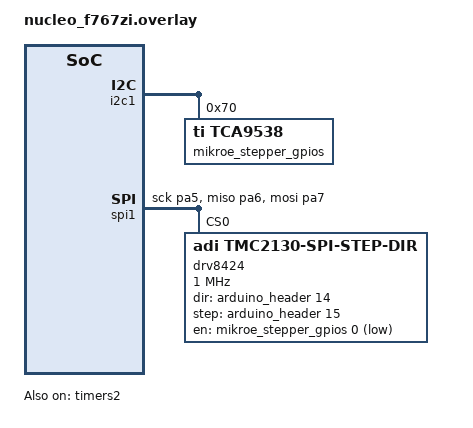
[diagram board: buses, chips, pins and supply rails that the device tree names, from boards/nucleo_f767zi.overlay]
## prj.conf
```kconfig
# Copyright (c) 2024 Navimatix GmbH
# SPDX-License-Identifier: Apache-2.0

CONFIG_ZTEST=y
CONFIG_TEST=y
CONFIG_TEST_USERSPACE=y
CONFIG_LOG=y
CONFIG_STEPPER_LOG_LEVEL_DBG=y
CONFIG_STEPPER=y
CONFIG_POLL=y
CONFIG_I2C=y
CONFIG_GPIO=y
CONFIG_COUNTER=y
CONFIG_STEPPER_STEP_DIR_GENERATE_ISR_SAFE_EVENTS=y
```

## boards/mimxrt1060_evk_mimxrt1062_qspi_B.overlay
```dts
/*
 * Copyright (c) 2024 Navimatix GmbH
 * SPDX-License-Identifier: Apache-2.0
 */

#include <zephyr/dt-bindings/gpio/gpio.h>

&lpi2c1 {
	status = "okay";

	mikroe_stepper_gpios: mikroe_stepper_ctrl_tca9538a@70 {
		status = "okay";
		compatible = "ti,tca9538";

		reg = <0x70>;

		gpio-controller;
		ngpios = <8>;
		#gpio-cells = <2>;

		gpio-reserved-ranges = <7 1>;

		gpio-line-names =
			"M0",
			"M1",
			"DEC0",
			"DEC1",
			"TOFF",
			"STP",
			"DIR";
	};
};

/ {
	drv8424: drv8424 {
		status = "okay";
		compatible = "ti,drv8424";

		dir-gpios = <&arduino_header 9 0>; /* D3 */
		step-gpios = <&arduino_header 10 0>; /* D4 */
		sleep-gpios = <&arduino_header 8 GPIO_ACTIVE_LOW>; /* D2 */
		en-gpios  = <&arduino_header 11 0>; /* D5 */
		m0-gpios = <&mikroe_stepper_gpios 0 0>;
		m1-gpios = <&mikroe_stepper_gpios 1 0>;

		timing-source = "counter";

		counter = <&pit0_channel0>;
	};
};

&pit0_channel0 {
	status = "okay";
};
```

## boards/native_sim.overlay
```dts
/*
 * Copyright (c) 2024 Navimatix GmbH
 * SPDX-License-Identifier: Apache-2.0
 */

#include <zephyr/dt-bindings/gpio/gpio.h>

/ {
	drv8424: drv8424 {
		status = "okay";
		compatible = "ti,drv8424";


		dir-gpios = <&gpio1 0 0>; /* D3 */
		step-gpios = <&gpio1 1 0>; /* D4 */
		sleep-gpios = <&gpio2 0 GPIO_ACTIVE_LOW>; /* D2 */
		en-gpios = <&gpio2 1 0>; /* 5 */
		m0-gpios = <&gpio3 0 0>;
		m1-gpios = <&gpio3 1 0>;

		timing-source = "counter";

		counter = <&counter0>;
	};

	gpio1: gpio1 {
		compatible = "zephyr,gpio-emul";
		#gpio-cells = <0x2>;
		status = "okay";
		gpio-controller;
	};

	gpio2: gpio2 {
		compatible = "zephyr,gpio-emul";
		#gpio-cells = <0x2>;
		status = "okay";
		gpio-controller;
	};

	gpio3: gpio3 {
		compatible = "zephyr,gpio-emul";
		#gpio-cells = <0x2>;
		status = "okay";
		gpio-controller;
	};
};
```

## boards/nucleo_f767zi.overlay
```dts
/*
 * Copyright (c) 2024 Navimatix GmbH
 * SPDX-License-Identifier: Apache-2.0
 */

#include <zephyr/dt-bindings/gpio/gpio.h>

&i2c1 {
	status = "okay";

	mikroe_stepper_gpios: mikroe_stepper_ctrl_tca9538a@70 {
		status = "okay";
		compatible = "ti,tca9538";

		reg = <0x70>;

		gpio-controller;
		ngpios = <8>;
		#gpio-cells = <2>;

		gpio-reserved-ranges = <7 1>;

		gpio-line-names =
			"M0",
			"M1",
			"DEC0",
			"DEC1",
			"TOFF",
			"STP",
			"DIR";
	};
};

// / {
// 	drv8424: drv8424 {
// 		status = "okay";
// 		compatible = "ti,drv8424";

// 		dir-gpios = <&arduino_header 18 0>; /* D12 */
// 		step-gpios = <&arduino_header 19 0>; /* D13 */
// 		sleep-gpios = <&arduino_header 15 GPIO_ACTIVE_LOW>; /* D9 */
// 		en-gpios  = <&arduino_header 14 0>; /* D8 */
// 		m0-gpios = <&mikroe_stepper_gpios 0 0>;
// 		m1-gpios = <&mikroe_stepper_gpios 1 0>;

// 		timing-source = "work";

// 		counter = <&counter2>;
// 	};
// };

&spi1 {
	pinctrl-0 = <&spi1_sck_pa5 &spi1_miso_pa6 &spi1_mosi_pa7>;
	pinctrl-names = "default";
	status = "okay";
	drv8424: tmc2130@0 {
		compatible = "adi,tmc2130-spi-step-dir";
		reg = <0>;
		spi-max-frequency = <DT_FREQ_M(1)>; /* Maximum SPI bus frequency */

		dir-gpios = <&arduino_header 14 0>; /* D8 */
		step-gpios = <&arduino_header 15 0>; /* D9 */
		en-gpios  = <&mikroe_stepper_gpios 0 GPIO_ACTIVE_LOW>; /* D8 */
		counter = <&counter2>;
		timing-source = "counter";
		// acceleration = <50>;
	};
};

&timers2 {
	status = "okay";
	counter2: counter {
		status = "okay";
	};
};
```

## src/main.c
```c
/*
 * Copyright 2024 Navimatix GmbH
 *
 * SPDX-License-Identifier: Apache-2.0
 */

#include <zephyr/drivers/gpio.h>
#include <zephyr/kernel.h>
#include <zephyr/ztest_assert.h>
#include <stdbool.h>
#include <stdint.h>
#include <zephyr/ztest.h>
#include <zephyr/drivers/stepper.h>

#define TEST_INTERVAL      NSEC_PER_SEC / 50
#define BASE_MS_RESOLUTION 1
#define TEST_MS_RESOLUTION 4
#define FAIL_MS_RESOLUTION 3

struct drv8424_api_fixture {
	const struct device *dev;
	stepper_event_callback_t callback;
};

struct k_poll_signal stepper_signal;
struct k_poll_event stepper_event;

static void drv8424_api_print_event_callback(const struct device *dev, enum stepper_event event,
					     void *dummy)
{
	switch (event) {
	case STEPPER_EVENT_STEPS_COMPLETED:
		k_poll_signal_raise(&stepper_signal, STEPPER_EVENT_STEPS_COMPLETED);
		break;
	case STEPPER_EVENT_LEFT_END_STOP_DETECTED:
		k_poll_signal_raise(&stepper_signal, STEPPER_EVENT_LEFT_END_STOP_DETECTED);
		break;
	case STEPPER_EVENT_RIGHT_END_STOP_DETECTED:
		k_poll_signal_raise(&stepper_signal, STEPPER_EVENT_RIGHT_END_STOP_DETECTED);
		break;
	case STEPPER_EVENT_STALL_DETECTED:
		k_poll_signal_raise(&stepper_signal, STEPPER_EVENT_STALL_DETECTED);
		break;
	default:
		break;
	}
}

static void *drv8424_api_setup(void)
{
	static struct drv8424_api_fixture fixture = {
		.dev = DEVICE_DT_GET(DT_NODELABEL(drv8424)),
		.callback = drv8424_api_print_event_callback,
	};

	k_poll_signal_init(&stepper_signal);
	k_poll_event_init(&stepper_event, K_POLL_TYPE_SIGNAL, K_POLL_MODE_NOTIFY_ONLY,
			  &stepper_signal);

	zassert_not_null(fixture.dev);
	return &fixture;
}

static void drv8424_api_before(void *f)
{
	struct drv8424_api_fixture *fixture = f;
	(void)stepper_set_reference_position(fixture->dev, 0);
	(void)stepper_set_micro_step_res(fixture->dev, BASE_MS_RESOLUTION);
	k_poll_signal_reset(&stepper_signal);
}

static void drv8424_api_after(void *f)
{
	struct drv8424_api_fixture *fixture = f;
	(void)stepper_enable(fixture->dev, false);
}

ZTEST_F(drv8424_api, test_micro_step_res_set)
{
	(void)stepper_set_micro_step_res(fixture->dev, TEST_MS_RESOLUTION);
	enum stepper_micro_step_resolution res;
	(void)stepper_get_micro_step_res(fixture->dev, &res);
	zassert_equal(res, TEST_MS_RESOLUTION,
		      "Micro step resolution not set correctly, should be %d but is %d",
		      TEST_MS_RESOLUTION, res);
}

ZTEST_F(drv8424_api, test_micro_step_res_set_incorrect_value_detection)
{
	int ret = 0;

	ret = stepper_set_micro_step_res(fixture->dev, FAIL_MS_RESOLUTION);
	zassert_equal(ret, -EINVAL, "Command should fail with error %d but returned %d", -EINVAL,
		      ret);
}

ZTEST_F(drv8424_api, test_actual_position_set)
{
	int32_t pos = 100u;
	(void)stepper_set_reference_position(fixture->dev, pos);
	(void)stepper_get_actual_position(fixture->dev, &pos);
	zassert_equal(pos, 100u, "Actual position should be %u but is %u", 100u, pos);
}

ZTEST_F(drv8424_api, test_is_not_moving_when_disabled)
{
	int32_t steps = 100;
	bool moving = true;

	(void)stepper_enable(fixture->dev, true);
	(void)stepper_set_microstep_interval(fixture->dev, 20000000);
	(void)stepper_move_by(fixture->dev, steps);
	(void)stepper_enable(fixture->dev, false);
	(void)stepper_is_moving(fixture->dev, &moving);
	zassert_false(moving, "Driver should not be in state is_moving after being disabled");
}

ZTEST_F(drv8424_api, test_position_not_updating_when_disabled)
{
	int32_t steps = 1000;
	int32_t position_1 = 0;
	int32_t position_2 = 0;

	(void)stepper_enable(fixture->dev, true);
	(void)stepper_set_microstep_interval(fixture->dev, 20000000);
	(void)stepper_move_by(fixture->dev, steps);
	(void)stepper_enable(fixture->dev, false);
	(void)stepper_get_actual_position(fixture->dev, &position_1);
	k_msleep(100);
	(void)stepper_get_actual_position(fixture->dev, &position_2);
	zassert_equal(position_2, position_1,
		      "Actual position should not have changed from %d but is %d", position_1,
		      position_2);
}

ZTEST_F(drv8424_api, test_is_not_moving_when_reenabled_after_movement)
{
	int32_t steps = 1000;
	bool moving = true;

	(void)stepper_enable(fixture->dev, true);
	(void)stepper_set_microstep_interval(fixture->dev, 20000000);
	(void)stepper_move_by(fixture->dev, steps);
	(void)stepper_enable(fixture->dev, false);
	(void)k_msleep(100);
	(void)stepper_enable(fixture->dev, true);
	(void)k_msleep(100);
	(void)stepper_is_moving(fixture->dev, &moving);
	zassert_false(moving, "Driver should not be in state is_moving after being reenabled");
}
ZTEST_F(drv8424_api, test_position_not_updating_when_reenabled_after_movement)
{
	int32_t steps = 1000;
	int32_t position_1 = 0;
	int32_t position_2 = 0;

	(void)stepper_enable(fixture->dev, true);
	(void)stepper_set_microstep_interval(fixture->dev, 20000000);
	(void)stepper_move_by(fixture->dev, steps);
	(void)stepper_enable(fixture->dev, false);
	(void)stepper_get_actual_position(fixture->dev, &position_1);
	(void)k_msleep(100);
	(void)stepper_enable(fixture->dev, true);
	(void)k_msleep(100);
	(void)stepper_get_actual_position(fixture->dev, &position_2);
	zassert_equal(position_2, position_1,
		      "Actual position should not have changed from %d but is %d", position_1,
		      position_2);
}

ZTEST_F(drv8424_api, test_move_to_positive_direction_movement)
{
	int32_t pos = 50;

	(void)stepper_enable(fixture->dev, true);
	(void)stepper_set_microstep_interval(fixture->dev, 20000000);
	(void)stepper_set_event_callback(fixture->dev, fixture->callback, NULL);
	(void)stepper_move_to(fixture->dev, pos);
	(void)k_poll(&stepper_event, 1, K_SECONDS(5));
	unsigned int signaled;
	int result;

	k_poll_signal_check(&stepper_signal, &signaled, &result);
	zassert_equal(signaled, 1, "No event detected");
	zassert_equal(result, STEPPER_EVENT_STEPS_COMPLETED,
		      "Event was not STEPPER_EVENT_STEPS_COMPLETED event");
	(void)stepper_get_actual_position(fixture->dev, &pos);
	zassert_equal(pos, 50u, "Target position should be %d but is %d", 50u, pos);
}

ZTEST_F(drv8424_api, test_move_to_negative_direction_movement)
{
	int32_t pos = -50;

	(void)stepper_enable(fixture->dev, true);
	(void)stepper_set_microstep_interval(fixture->dev, 20000000);
	(void)stepper_set_event_callback(fixture->dev, fixture->callback, NULL);
	(void)stepper_move_to(fixture->dev, pos);
	(void)k_poll(&stepper_event, 1, K_SECONDS(5));
	unsigned int signaled;
	int result;

	k_poll_signal_check(&stepper_signal, &signaled, &result);
	zassert_equal(signaled, 1, "No event detected");
	zassert_equal(result, STEPPER_EVENT_STEPS_COMPLETED,
		      "Event was not STEPPER_EVENT_STEPS_COMPLETED event");
	(void)stepper_get_actual_position(fixture->dev, &pos);
	zassert_equal(pos, -50, "Target position should be %d but is %d", -50, pos);
}

ZTEST_F(drv8424_api, test_move_to_identical_current_and_target_position)
{
	int32_t pos = 0;
	int ret;

	(void)stepper_enable(fixture->dev, true);
	(void)stepper_set_microstep_interval(fixture->dev, 20000000);
	(void)stepper_set_event_callback(fixture->dev, fixture->callback, NULL);
	ret = stepper_move_to(fixture->dev, pos);

	zassert_equal(-EINVAL, ret, "Move_to should fail with error code %d but returned %d",
		      -EINVAL, ret);
	(void)stepper_get_actual_position(fixture->dev, &pos);
	zassert_equal(pos, 0, "Target position should not have changed from %d but is %d", 0, pos);
}

ZTEST_F(drv8424_api, test_move_to_is_moving_true_while_moving)
{
	int32_t pos = 50;
	bool moving = false;

	(void)stepper_enable(fixture->dev, true);
	(void)stepper_set_microstep_interval(fixture->dev, 20000000);
	(void)stepper_set_event_callback(fixture->dev, fixture->callback, NULL);
	(void)stepper_move_to(fixture->dev, pos);
	(void)stepper_is_moving(fixture->dev, &moving);
	zassert_true(moving, "Driver should be in state is_moving while moving");
}

ZTEST_F(drv8424_api, test_move_to_is_moving_false_when_completed)
{
	int32_t pos = 50;
	bool moving = false;

	(void)stepper_enable(fixture->dev, true);
	(void)stepper_set_microstep_interval(fixture->dev, 20000000);
	(void)stepper_set_event_callback(fixture->dev, fixture->callback, NULL);
	(void)stepper_move_to(fixture->dev, pos);
	(void)k_poll(&stepper_event, 1, K_SECONDS(5));
	unsigned int signaled;
	int result;

	k_poll_signal_check(&stepper_signal, &signaled, &result);
	zassert_equal(signaled, 1, "No event detected");
	zassert_equal(result, STEPPER_EVENT_STEPS_COMPLETED,
		      "Event was not STEPPER_EVENT_STEPS_COMPLETED event");
	(void)stepper_is_moving(fixture->dev, &moving);
	zassert_false(moving, "Driver should not be in state is_moving after finishing");
}

ZTEST_F(drv8424_api, test_move_to_no_movement_when_disabled)
{
	int32_t pos = 50;
	int32_t curr_pos = 50;
	int32_t ret = 0;

	(void)stepper_set_microstep_interval(fixture->dev, 20000000);
	(void)stepper_enable(fixture->dev, false);

	ret = stepper_move_to(fixture->dev, pos);
	zassert_equal(ret, -ECANCELED, "Move_to should fail with error code %d but returned %d",
		      -ECANCELED, ret);
	(void)stepper_get_actual_position(fixture->dev, &curr_pos);
	zassert_equal(curr_pos, 0, "Current position should not have changed from %d but is %d", 0,
		      curr_pos);
}

ZTEST_F(drv8424_api, test_move_by_positive_step_count)
{
	int32_t steps = 50;

	(void)stepper_enable(fixture->dev, true);
	(void)stepper_set_microstep_interval(fixture->dev, 20000000);
	(void)stepper_set_event_callback(fixture->dev, fixture->callback, NULL);
	(void)stepper_move_by(fixture->dev, steps);
	(void)k_poll(&stepper_event, 1, K_SECONDS(5));
	unsigned int signaled;
	int result;

	k_poll_signal_check(&stepper_signal, &signaled, &result);
	zassert_equal(signaled, 1, "No event detected");
	zassert_equal(result, STEPPER_EVENT_STEPS_COMPLETED,
		      "Event was not STEPPER_EVENT_STEPS_COMPLETED event");
	(void)stepper_get_actual_position(fixture->dev, &steps);
	zassert_equal(steps, 50u, "Target position should be %d but is %d", 50u, steps);
}

ZTEST_F(drv8424_api, test_move_by_negative_step_count)
{
	int32_t steps = -50;

	(void)stepper_enable(fixture->dev, true);
	(void)stepper_set_microstep_interval(fixture->dev, 20000000);
	(void)stepper_set_event_callback(fixture->dev, fixture->callback, NULL);
	(void)stepper_move_by(fixture->dev, steps);
	(void)k_poll(&stepper_event, 1, K_SECONDS(5));
	unsigned int signaled;
	int result;

	k_poll_signal_check(&stepper_signal, &signaled, &result);
	zassert_equal(signaled, 1, "No event detected");
	zassert_equal(result, STEPPER_EVENT_STEPS_COMPLETED,
		      "Event was not STEPPER_EVENT_STEPS_COMPLETED event");
	(void)stepper_get_actual_position(fixture->dev, &steps);
	zassert_equal(steps, -50, "Target position should be %d but is %d", -50, steps);
}

ZTEST_F(drv8424_api, test_move_by_zero_steps_no_movement)
{
	int32_t steps = 0;
	int ret = 0;

	(void)stepper_enable(fixture->dev, true);
	(void)stepper_set_microstep_interval(fixture->dev, 20000000);
	(void)stepper_set_event_callback(fixture->dev, fixture->callback, NULL);
	ret = stepper_move_by(fixture->dev, steps);
	k_msleep(200);

	zassert_equal(-EINVAL, ret, "Move_to should fail with error code %d but returned %d",
		      -EINVAL, ret);
	(void)stepper_get_actual_position(fixture->dev, &steps);
	zassert_equal(steps, 0, "Target position should be %d but is %d", 0, steps);
}

ZTEST_F(drv8424_api, test_move_by_zero_step_interval)
{
	int32_t steps = 100;
	int32_t ret = 0;
	int32_t pos = 100;

	(void)stepper_enable(fixture->dev, true);
	(void)stepper_enable(fixture->dev, false);
	ret = stepper_move_by(fixture->dev, steps);

	zassert_not_equal(ret, 0, "Command should fail with an error code, but returned 0");
	k_msleep(100);
	(void)stepper_get_actual_position(fixture->dev, &pos);
	zassert_equal(pos, 0, "Target position should not have changed from %d but is %d", 0, pos);
}

ZTEST_F(drv8424_api, test_move_by_is_moving_true_while_moving)
{
	int32_t steps = 50;
	bool moving = false;

	(void)stepper_enable(fixture->dev, true);
	(void)stepper_set_microstep_interval(fixture->dev, 20000000);
	(void)stepper_set_event_callback(fixture->dev, fixture->callback, NULL);
	(void)stepper_move_by(fixture->dev, steps);
	(void)stepper_is_moving(fixture->dev, &moving);
	zassert_true(moving, "Driver should be in state is_moving");
}

ZTEST_F(drv8424_api, test_move_by_is_moving_false_when_completed)
{
	int32_t steps = 50;
	bool moving = true;

	(void)stepper_enable(fixture->dev, true);
	(void)stepper_set_microstep_interval(fixture->dev, 20000000);
	(void)stepper_set_event_callback(fixture->dev, fixture->callback, NULL);
	(void)stepper_move_by(fixture->dev, steps);
	(void)k_poll(&stepper_event, 1, K_SECONDS(5));
	unsigned int signaled;
	int result;

	k_poll_signal_check(&stepper_signal, &signaled, &result);
	zassert_equal(signaled, 1, "No event detected");
	zassert_equal(result, STEPPER_EVENT_STEPS_COMPLETED,
		      "Event was not STEPPER_EVENT_STEPS_COMPLETED event");
	(void)stepper_is_moving(fixture->dev, &moving);
	zassert_false(moving, "Driver should not be in state is_moving after completion");
}

ZTEST_F(drv8424_api, test_move_by_no_movement_when_disabled)
{
	int32_t steps = 100;
	int32_t curr_pos = 100;
	int32_t ret = 0;

	(void)stepper_set_microstep_interval(fixture->dev, 20000000);
	(void)stepper_enable(fixture->dev, false);

	ret = stepper_move_by(fixture->dev, steps);
	zassert_equal(ret, -ECANCELED, "Move_by should fail with error code %d but returned %d",
		      -ECANCELED, ret);
	(void)stepper_get_actual_position(fixture->dev, &curr_pos);
	zassert_equal(curr_pos, 0, "Current position should not have changed from %d but is %d", 0,
		      curr_pos);
}

ZTEST_F(drv8424_api, test_run_positive_direction_correct_position)
{
	uint64_t step_interval = 20000000;
	int32_t steps = 0;

	(void)stepper_enable(fixture->dev, true);
	(void)stepper_set_microstep_interval(fixture->dev, step_interval);
	(void)stepper_run(fixture->dev, STEPPER_DIRECTION_POSITIVE);
	k_msleep(110);

	(void)stepper_get_actual_position(fixture->dev, &steps);
	zassert_true(IN_RANGE(steps, 4, 6), "Current position should be between 4 and 6 but is %d",
		     steps);
}

ZTEST_F(drv8424_api, test_run_negative_direction_correct_position)
{
	uint64_t step_interval = 20000000;
	int32_t steps = 0;

	(void)stepper_enable(fixture->dev, true);
	(void)stepper_set_microstep_interval(fixture->dev, step_interval);
	(void)stepper_run(fixture->dev, STEPPER_DIRECTION_NEGATIVE);
	k_msleep(110);

	(void)stepper_get_actual_position(fixture->dev, &steps);
	zassert_true(IN_RANGE(steps, -6, -4),
		     "Current position should be between -6 and -4 but is %d", steps);
}

ZTEST_F(drv8424_api, test_run_zero_step_interval_correct_position)
{
	uint64_t step_interval = 0;
	int32_t steps = 0;

	(void)stepper_enable(fixture->dev, true);
	(void)stepper_set_microstep_interval(fixture->dev, step_interval);
	(void)stepper_run(fixture->dev, STEPPER_DIRECTION_POSITIVE);
	k_msleep(100);

	zassert_equal(steps, 0, "Current position should not have changed from %d but is %d", 0,
		      steps);
}

ZTEST_F(drv8424_api, test_run_is_moving_true_when_step_interval_greater_zero)
{
	uint64_t step_interval = 20000000;
	bool moving = false;

	(void)stepper_enable(fixture->dev, true);
	(void)stepper_set_microstep_interval(fixture->dev, step_interval);
	(void)stepper_run(fixture->dev, STEPPER_DIRECTION_POSITIVE);
	(void)stepper_is_moving(fixture->dev, &moving);
	zassert_true(moving, "Driver should be in state is_moving");
	(void)stepper_enable(fixture->dev, false);
}

ZTEST_F(drv8424_api, test_run_no_movement_when_disabled)
{
	uint64_t step_interval = 20000000;
	int32_t steps = 50;
	int32_t ret = 0;

	(void)stepper_enable(fixture->dev, false);
	(void)stepper_set_microstep_interval(fixture->dev, step_interval);

	ret = stepper_run(fixture->dev, STEPPER_DIRECTION_POSITIVE);
	zassert_equal(ret, -ECANCELED, "Run should fail with error code %d but returned %d",
		      -ECANCELED, ret);
	(void)stepper_get_actual_position(fixture->dev, &steps);
	zassert_equal(steps, 0, "Current position should not have changed from %d but is %d", 0,
		      steps);
}

ZTEST_SUITE(drv8424_api, NULL, drv8424_api_setup, drv8424_api_before, drv8424_api_after, NULL);
```
